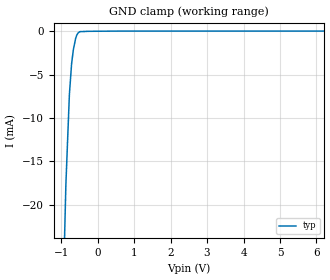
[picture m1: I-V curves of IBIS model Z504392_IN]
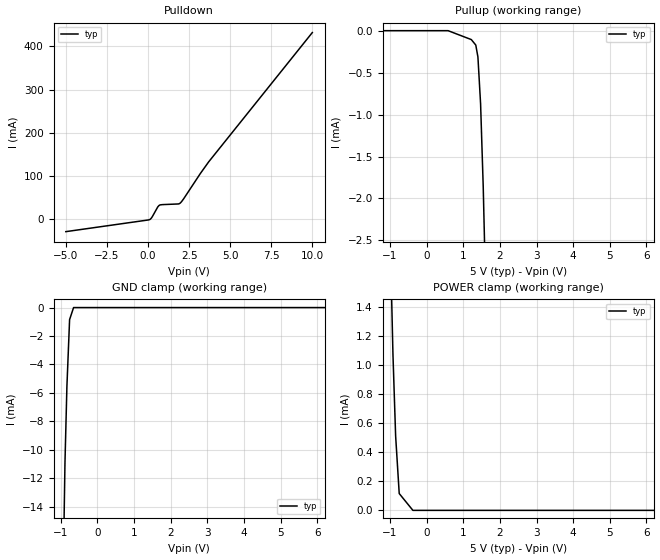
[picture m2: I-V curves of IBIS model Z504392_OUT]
| YOU ARE ONLY AUTHORIZED TO USE THIS SOFTWARE
| ACCORDING TO LICENSOR'S LICENSE RESTRICTIONS.
[IBIS Ver] 3.1
[File Name] sn54ls160aj.ibs
[File Rev] 2.0
[Source] Measured and created by ICX Technology
[Date] Friday 7/14/00 9:08:13 AM
[Copyright]
| (C) COPYRIGHT 1993-2000
| MENTOR GRAPHICS CORPORATION
| ICX STANDARD LIBRARY, ICX PROJECT MODELING,
| ICX CUSTOM MODELING, ICX VENDOR MODEL
| ALL RIGHTS RESERVED.
| THE FOLLOWING ARE TRADEMARKS OR SERVICE MARKS OF
| MENTOR GRAPHICS CORPORATION:ICX (R), ICX STANDARD
| LIBRARY(R), ICX PROJECT MODELING(R), ICX CUSTOM
| MODELING(R), qualityIBIS(TM), MODELVIEWER(TM),
| AND MODELEDITOR(TM)
| ALL COPIES OF SOFTWARE, INCLUDING BUT NOT LIMITED TO
| ANY MODIFICATIONS, ENHANCEMENTS OR DERIVATIVE WORKS,
| MUST CONTAIN ALL MENTOR GRAPHICS CORPORATION'S
| NOTICES AND LEGENDS, INCLUDING THOSE EMBEDDED IN
| SOFTWARE AND THOSE AFFIXED TO SOFTWARE MEDIUM
| AND CONTAINER, AS RECEIVED FROM MENTOR GRAPHICS
| CORPORATION.
|  ZAP Model Builder 2.7
[Component] SN54LS160AJ
[Manufacturer] OnSemiconductor
[Package]
| variable   typ   min   max
R_pkg  .212ohms NA NA
L_pkg  4.758nH NA NA
C_pkg  1.944pF NA NA
[Pin] signal_name  model_name  R_pin  L_pin C_pin
1 _CLR Z504392_IN .224 7.258n 2.683p
2 CLK Z504392_IN .216 5.258n 2.19p
3 A Z504392_IN .208 3.758n 1.697p
4 B Z504392_IN .2 2.758n 1.204p
5 C Z504392_IN .2 2.758n 1.204p
6 D Z504392_IN .208 3.758n 1.697p
7 ENP Z504392_IN .216 5.258n 2.19p
8 GND GND .224 7.258n 2.683p
9 _LOAD Z504392_IN .224 7.258n 2.683p
10 ENT Z504392_IN .216 5.258n 2.19p
11 QD Z504392_OUT .208 3.758n 1.697p
12 QC Z504392_OUT .2 2.758n 1.204p
13 QB Z504392_OUT .2 2.758n 1.204p
14 QA Z504392_OUT .208 3.758n 1.697p
15 RCO Z504392_OUT .216 5.258n 2.19p
16 VCC POWER .224 7.258n 2.683p
| Models and submodels in the file (2): Z504392_IN (Input), Z504392_OUT (Output)
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| (C) COPYRIGHT 1993-2000
| MENTOR GRAPHICS CORPORATION
| ICX STANDARD LIBRARY, ICX PROJECT MODELING,
| ICX CUSTOM MODELING, ICX VENDOR MODEL
| ALL RIGHTS RESERVED.
| THE FOLLOWING ARE TRADEMARKS OR SERVICE MARKS OF
| MENTOR GRAPHICS CORPORATION:ICX (R), ICX STANDARD
| LIBRARY(R), ICX PROJECT MODELING(R), ICX CUSTOM
| MODELING(R), qualityIBIS(TM), MODELVIEWER(TM),
| AND MODELEDITOR(TM)
| ALL COPIES OF SOFTWARE, INCLUDING BUT NOT LIMITED TO
| ANY MODIFICATIONS, ENHANCEMENTS OR DERIVATIVE WORKS,
| MUST CONTAIN ALL MENTOR GRAPHICS CORPORATION'S
| NOTICES AND LEGENDS, INCLUDING THOSE EMBEDDED IN
| SOFTWARE AND THOSE AFFIXED TO SOFTWARE MEDIUM
| AND CONTAINER, AS RECEIVED FROM MENTOR GRAPHICS
| CORPORATION.
| Model Application Version 1.89 2/18/99.
[Model] Z504392_IN
Model_type Input
Vinl = 800.0mV
Vinh = 2.000V
C_comp 4.000pF NA NA
| variable typ   min   max
[Voltage Range] 5.000V NA NA
[GND Clamp Reference] 0.000V NA NA
[POWER Clamp Reference] 5.000V NA NA
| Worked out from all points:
|   GND clamp passes 1 mA (typ) near -0.61 V on its own axis
[GND Clamp]
-5V       -716.9mA   NA         NA
-869.1mV  -17.64mA   NA         NA
-773.4mV  -7.318mA   NA         NA
-712.7mV  -3.755mA   NA         NA
-664.1mV  -2.123mA   NA         NA
-600.6mV  -813.9uA   NA         NA
-566.3mV  -414.7uA   NA         NA
-527.8mV  -172uA     NA         NA
-486.1mV  -55.28uA   NA         NA
-243mV    -12.11uA   NA         NA
646.5mV   12.75uA    NA         NA
10V       12.75uA    NA         NA
[POWER Clamp]
-5V       0A         NA         NA
10V       0A         NA         NA
| (C) COPYRIGHT 1993-2000
| MENTOR GRAPHICS CORPORATION
| ICX STANDARD LIBRARY, ICX PROJECT MODELING,
| ICX CUSTOM MODELING, ICX VENDOR MODEL
| ALL RIGHTS RESERVED.
| THE FOLLOWING ARE TRADEMARKS OR SERVICE MARKS OF
| MENTOR GRAPHICS CORPORATION:ICX (R), ICX STANDARD
| LIBRARY(R), ICX PROJECT MODELING(R), ICX CUSTOM
| MODELING(R), qualityIBIS(TM), MODELVIEWER(TM),
| AND MODELEDITOR(TM)
| ALL COPIES OF SOFTWARE, INCLUDING BUT NOT LIMITED TO
| ANY MODIFICATIONS, ENHANCEMENTS OR DERIVATIVE WORKS,
| MUST CONTAIN ALL MENTOR GRAPHICS CORPORATION'S
| NOTICES AND LEGENDS, INCLUDING THOSE EMBEDDED IN
| SOFTWARE AND THOSE AFFIXED TO SOFTWARE MEDIUM
| AND CONTAINER, AS RECEIVED FROM MENTOR GRAPHICS
| CORPORATION.
| Model Application Version 1.89 2/18/99.
[Model] Z504392_OUT
Model_type Output
Vref=5.000V
Rref=2.000kohms
Cref=15.00pF
Vmeas=1.300V
C_comp 8.000pF NA NA
| variable typ   min   max
[Voltage Range] 5.000V NA NA
[POWER Clamp Reference] 5.000V NA NA
[Pullup Reference] 5.000V NA NA
[Pulldown Reference] 0.000V NA NA
[GND Clamp Reference] 0.000V NA NA
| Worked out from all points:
|   slope of the pulldown table from 0 to 0.75 V, typ, clamps not added: 21.4 ohm
|   slope of the pullup table from 0 to 0.75 V, typ, clamps not added: 27.2 kohm
|   GND clamp passes 1 mA (typ) near -0.76 V on its own axis
|   POWER clamp passes 1 mA (typ) near -0.91 V on its own axis
[GND Clamp]
-5V       -1.152A    NA         NA
-1.15V    -63.86mA   NA         NA
-1.006V   -30.56mA   NA         NA
-888.2mV  -10.97mA   NA         NA
-834.9mV  -5.554mA   NA         NA
-761.7mV  -848.6uA   NA         NA
-652.9mV  0A         NA         NA
10V       0A         NA         NA
[Pulldown]
-5V       -28.56mA   NA         NA
68.7mV    -1.138mA   NA         NA
187.8mV   2.029mA    NA         NA
595.9mV   28.79mA    NA         NA
732.5mV   33.27mA    NA         NA
1.846V    35.5mA     NA         NA
1.964V    37.65mA    NA         NA
2.173V    47.68mA    NA         NA
3.184V    105.9mA    NA         NA
3.691V    132.9mA    NA         NA
10V       432.2mA    NA         NA
[Pullup]
-5V       8.611uA    NA         NA
586mV     8.611uA    NA         NA
1.221V    -98.27uA   NA         NA
1.343V    -164uA     NA         NA
1.401V    -305.9uA   NA         NA
1.474V    -867.6uA   NA         NA
1.546V    -1.862mA   NA         NA
10V       -159.4mA   NA         NA
[POWER Clamp]
-5V       53.66mA    NA         NA
-1.045V   2.453mA    NA         NA
-918mV    1.075mA    NA         NA
-845mV    513.4uA    NA         NA
-747mV    115.9uA    NA         NA
-373.5mV  0A         NA         NA
10V       0A         NA         NA
[Ramp]
| variable typ min max
dV/dt_r 1.853/6.738n NA NA
dV/dt_f 1.853/2.298n NA NA
R_load = 500.0Ohms
